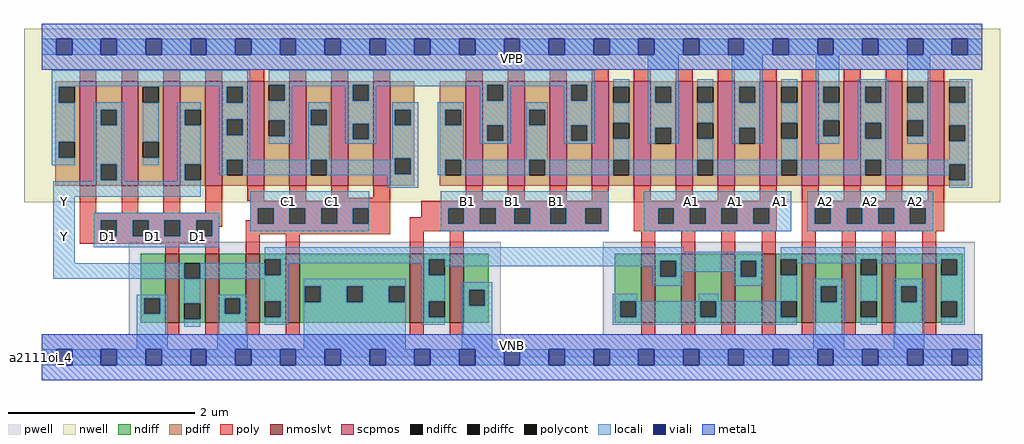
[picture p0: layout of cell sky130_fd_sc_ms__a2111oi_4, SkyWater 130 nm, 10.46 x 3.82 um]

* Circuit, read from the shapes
.subckt sky130_fd_sc_ms__a2111oi_4 A1 A2 B1 C1 D1 VGND VNB VPB VPWR Y
XM1 Y D1 VGND VNB sky130_fd_pr__nfet_01v8_lvt w=0.74 l=0.15 m=2
XM2 Y C1 VGND VNB sky130_fd_pr__nfet_01v8_lvt w=0.74 l=0.15 m=2
XM3 Y B1 VGND VNB sky130_fd_pr__nfet_01v8_lvt w=0.74 l=0.15 m=2
XM4 Y A1 n1 VNB sky130_fd_pr__nfet_01v8_lvt w=0.74 l=0.15 m=4
XM5 VGND A2 n1 VNB sky130_fd_pr__nfet_01v8_lvt w=0.74 l=0.15 m=4
XM6 Y D1 n2 VPB sky130_fd_pr__pfet_01v8 w=1.12 l=0.18 m=4
XM7 n3 C1 n2 VPB sky130_fd_pr__pfet_01v8 w=1.12 l=0.18 m=4
XM8 n3 B1 n4 VPB sky130_fd_pr__pfet_01v8 w=1.12 l=0.18 m=4
XM9 VPWR A1 n4 VPB sky130_fd_pr__pfet_01v8 w=1.12 l=0.18 m=4
XM10 VPWR A2 n4 VPB sky130_fd_pr__pfet_01v8 w=1.12 l=0.18 m=4
.ends

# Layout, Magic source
magic
tech sky130A
magscale 1 2
<< nwell >>
rect -38 332 2054 704
<< pwell >>
rect 186 49 984 248
rect 1202 49 2000 248
rect 0 0 2016 49
<< scpmos >>
rect 81 368 117 592
rect 171 368 207 592
rect 261 368 297 592
rect 351 368 387 592
rect 441 368 477 592
rect 531 368 567 592
rect 621 368 657 592
rect 711 368 747 592
rect 909 368 945 592
rect 999 368 1035 592
rect 1089 368 1125 592
rect 1179 368 1215 592
rect 1269 368 1305 592
rect 1359 368 1395 592
rect 1449 368 1485 592
rect 1539 368 1575 592
rect 1629 368 1665 592
rect 1719 368 1755 592
rect 1809 368 1845 592
rect 1899 368 1935 592
<< nmoslvt >>
rect 265 74 295 222
rect 351 74 381 222
rect 437 74 467 222
rect 523 74 553 222
rect 789 74 819 222
rect 875 74 905 222
rect 1285 74 1315 222
rect 1371 74 1401 222
rect 1457 74 1487 222
rect 1543 74 1573 222
rect 1629 74 1659 222
rect 1715 74 1745 222
rect 1801 74 1831 222
rect 1887 74 1917 222
<< ndiff >>
rect 212 127 265 222
rect 212 93 220 127
rect 254 93 265 127
rect 212 74 265 93
rect 295 202 351 222
rect 295 168 306 202
rect 340 168 351 202
rect 295 116 351 168
rect 295 82 306 116
rect 340 82 351 116
rect 295 74 351 82
rect 381 127 437 222
rect 381 93 392 127
rect 426 93 437 127
rect 381 74 437 93
rect 467 210 523 222
rect 467 176 478 210
rect 512 176 523 210
rect 467 120 523 176
rect 467 86 478 120
rect 512 86 523 120
rect 467 74 523 86
rect 553 152 789 222
rect 553 118 564 152
rect 598 118 654 152
rect 688 118 744 152
rect 778 118 789 152
rect 553 74 789 118
rect 819 210 875 222
rect 819 176 830 210
rect 864 176 875 210
rect 819 120 875 176
rect 819 86 830 120
rect 864 86 875 120
rect 819 74 875 86
rect 905 145 958 222
rect 905 111 916 145
rect 950 111 958 145
rect 905 74 958 111
rect 1228 120 1285 222
rect 1228 86 1240 120
rect 1274 86 1285 120
rect 1228 74 1285 86
rect 1315 207 1371 222
rect 1315 173 1326 207
rect 1360 173 1371 207
rect 1315 74 1371 173
rect 1401 120 1457 222
rect 1401 86 1412 120
rect 1446 86 1457 120
rect 1401 74 1457 86
rect 1487 207 1543 222
rect 1487 173 1498 207
rect 1532 173 1543 207
rect 1487 74 1543 173
rect 1573 210 1629 222
rect 1573 176 1584 210
rect 1618 176 1629 210
rect 1573 120 1629 176
rect 1573 86 1584 120
rect 1618 86 1629 120
rect 1573 74 1629 86
rect 1659 152 1715 222
rect 1659 118 1670 152
rect 1704 118 1715 152
rect 1659 74 1715 118
rect 1745 210 1801 222
rect 1745 176 1756 210
rect 1790 176 1801 210
rect 1745 120 1801 176
rect 1745 86 1756 120
rect 1790 86 1801 120
rect 1745 74 1801 86
rect 1831 152 1887 222
rect 1831 118 1842 152
rect 1876 118 1887 152
rect 1831 74 1887 118
rect 1917 210 1974 222
rect 1917 176 1928 210
rect 1962 176 1974 210
rect 1917 120 1974 176
rect 1917 86 1928 120
rect 1962 86 1974 120
rect 1917 74 1974 86
<< pdiff >>
rect 29 580 81 592
rect 29 546 37 580
rect 71 546 81 580
rect 29 462 81 546
rect 29 428 37 462
rect 71 428 81 462
rect 29 368 81 428
rect 117 531 171 592
rect 117 497 127 531
rect 161 497 171 531
rect 117 414 171 497
rect 117 380 127 414
rect 161 380 171 414
rect 117 368 171 380
rect 207 580 261 592
rect 207 546 217 580
rect 251 546 261 580
rect 207 462 261 546
rect 207 428 217 462
rect 251 428 261 462
rect 207 368 261 428
rect 297 531 351 592
rect 297 497 307 531
rect 341 497 351 531
rect 297 414 351 497
rect 297 380 307 414
rect 341 380 351 414
rect 297 368 351 380
rect 387 580 441 592
rect 387 546 397 580
rect 431 546 441 580
rect 387 510 441 546
rect 387 476 397 510
rect 431 476 441 510
rect 387 424 441 476
rect 387 390 397 424
rect 431 390 441 424
rect 387 368 441 390
rect 477 584 531 592
rect 477 550 487 584
rect 521 550 531 584
rect 477 508 531 550
rect 477 474 487 508
rect 521 474 531 508
rect 477 368 531 474
rect 567 531 621 592
rect 567 497 577 531
rect 611 497 621 531
rect 567 424 621 497
rect 567 390 577 424
rect 611 390 621 424
rect 567 368 621 390
rect 657 584 711 592
rect 657 550 667 584
rect 701 550 711 584
rect 657 501 711 550
rect 657 467 667 501
rect 701 467 711 501
rect 657 368 711 467
rect 747 531 799 592
rect 747 497 757 531
rect 791 497 799 531
rect 747 427 799 497
rect 747 393 757 427
rect 791 393 799 427
rect 747 368 799 393
rect 853 531 909 592
rect 853 497 865 531
rect 899 497 909 531
rect 853 424 909 497
rect 853 390 865 424
rect 899 390 909 424
rect 853 368 909 390
rect 945 584 999 592
rect 945 550 955 584
rect 989 550 999 584
rect 945 498 999 550
rect 945 464 955 498
rect 989 464 999 498
rect 945 368 999 464
rect 1035 531 1089 592
rect 1035 497 1045 531
rect 1079 497 1089 531
rect 1035 424 1089 497
rect 1035 390 1045 424
rect 1079 390 1089 424
rect 1035 368 1089 390
rect 1125 584 1179 592
rect 1125 550 1135 584
rect 1169 550 1179 584
rect 1125 498 1179 550
rect 1125 464 1135 498
rect 1169 464 1179 498
rect 1125 368 1179 464
rect 1215 580 1269 592
rect 1215 546 1225 580
rect 1259 546 1269 580
rect 1215 503 1269 546
rect 1215 469 1225 503
rect 1259 469 1269 503
rect 1215 424 1269 469
rect 1215 390 1225 424
rect 1259 390 1269 424
rect 1215 368 1269 390
rect 1305 580 1359 592
rect 1305 546 1315 580
rect 1349 546 1359 580
rect 1305 492 1359 546
rect 1305 458 1315 492
rect 1349 458 1359 492
rect 1305 368 1359 458
rect 1395 580 1449 592
rect 1395 546 1405 580
rect 1439 546 1449 580
rect 1395 503 1449 546
rect 1395 469 1405 503
rect 1439 469 1449 503
rect 1395 424 1449 469
rect 1395 390 1405 424
rect 1439 390 1449 424
rect 1395 368 1449 390
rect 1485 580 1539 592
rect 1485 546 1495 580
rect 1529 546 1539 580
rect 1485 492 1539 546
rect 1485 458 1495 492
rect 1529 458 1539 492
rect 1485 368 1539 458
rect 1575 580 1629 592
rect 1575 546 1585 580
rect 1619 546 1629 580
rect 1575 503 1629 546
rect 1575 469 1585 503
rect 1619 469 1629 503
rect 1575 424 1629 469
rect 1575 390 1585 424
rect 1619 390 1629 424
rect 1575 368 1629 390
rect 1665 580 1719 592
rect 1665 546 1675 580
rect 1709 546 1719 580
rect 1665 508 1719 546
rect 1665 474 1675 508
rect 1709 474 1719 508
rect 1665 368 1719 474
rect 1755 580 1809 592
rect 1755 546 1765 580
rect 1799 546 1809 580
rect 1755 503 1809 546
rect 1755 469 1765 503
rect 1799 469 1809 503
rect 1755 424 1809 469
rect 1755 390 1765 424
rect 1799 390 1809 424
rect 1755 368 1809 390
rect 1845 580 1899 592
rect 1845 546 1855 580
rect 1889 546 1899 580
rect 1845 508 1899 546
rect 1845 474 1855 508
rect 1889 474 1899 508
rect 1845 368 1899 474
rect 1935 580 1987 592
rect 1935 546 1945 580
rect 1979 546 1987 580
rect 1935 497 1987 546
rect 1935 463 1945 497
rect 1979 463 1987 497
rect 1935 414 1987 463
rect 1935 380 1945 414
rect 1979 380 1987 414
rect 1935 368 1987 380
<< ndiffc >>
rect 220 93 254 127
rect 306 168 340 202
rect 306 82 340 116
rect 392 93 426 127
rect 478 176 512 210
rect 478 86 512 120
rect 564 118 598 152
rect 654 118 688 152
rect 744 118 778 152
rect 830 176 864 210
rect 830 86 864 120
rect 916 111 950 145
rect 1240 86 1274 120
rect 1326 173 1360 207
rect 1412 86 1446 120
rect 1498 173 1532 207
rect 1584 176 1618 210
rect 1584 86 1618 120
rect 1670 118 1704 152
rect 1756 176 1790 210
rect 1756 86 1790 120
rect 1842 118 1876 152
rect 1928 176 1962 210
rect 1928 86 1962 120
<< pdiffc >>
rect 37 546 71 580
rect 37 428 71 462
rect 127 497 161 531
rect 127 380 161 414
rect 217 546 251 580
rect 217 428 251 462
rect 307 497 341 531
rect 307 380 341 414
rect 397 546 431 580
rect 397 476 431 510
rect 397 390 431 424
rect 487 550 521 584
rect 487 474 521 508
rect 577 497 611 531
rect 577 390 611 424
rect 667 550 701 584
rect 667 467 701 501
rect 757 497 791 531
rect 757 393 791 427
rect 865 497 899 531
rect 865 390 899 424
rect 955 550 989 584
rect 955 464 989 498
rect 1045 497 1079 531
rect 1045 390 1079 424
rect 1135 550 1169 584
rect 1135 464 1169 498
rect 1225 546 1259 580
rect 1225 469 1259 503
rect 1225 390 1259 424
rect 1315 546 1349 580
rect 1315 458 1349 492
rect 1405 546 1439 580
rect 1405 469 1439 503
rect 1405 390 1439 424
rect 1495 546 1529 580
rect 1495 458 1529 492
rect 1585 546 1619 580
rect 1585 469 1619 503
rect 1585 390 1619 424
rect 1675 546 1709 580
rect 1675 474 1709 508
rect 1765 546 1799 580
rect 1765 469 1799 503
rect 1765 390 1799 424
rect 1855 546 1889 580
rect 1855 474 1889 508
rect 1945 546 1979 580
rect 1945 463 1979 497
rect 1945 380 1979 414
<< poly >>
rect 81 592 117 618
rect 171 592 207 618
rect 261 592 297 618
rect 351 592 387 618
rect 441 592 477 618
rect 531 592 567 618
rect 621 592 657 618
rect 711 592 747 618
rect 909 592 945 618
rect 999 592 1035 618
rect 1089 592 1125 618
rect 1179 592 1215 618
rect 1269 592 1305 618
rect 1359 592 1395 618
rect 1449 592 1485 618
rect 1539 592 1575 618
rect 1629 592 1665 618
rect 1719 592 1755 618
rect 1809 592 1845 618
rect 1899 592 1935 618
rect 81 310 117 368
rect 171 310 207 368
rect 261 310 297 368
rect 351 310 387 368
rect 441 336 477 368
rect 531 336 567 368
rect 621 342 657 368
rect 711 342 747 368
rect 621 336 747 342
rect 909 336 945 368
rect 999 336 1035 368
rect 1089 336 1125 368
rect 1179 336 1215 368
rect 81 294 387 310
rect 447 320 747 336
rect 447 294 463 320
rect 81 260 127 294
rect 161 260 195 294
rect 229 260 263 294
rect 297 260 331 294
rect 365 280 387 294
rect 437 286 463 294
rect 497 286 531 320
rect 565 286 599 320
rect 633 286 667 320
rect 701 286 747 320
rect 814 320 1215 336
rect 814 300 871 320
rect 365 260 381 280
rect 81 244 381 260
rect 265 222 295 244
rect 351 222 381 244
rect 437 264 747 286
rect 789 286 871 300
rect 905 286 939 320
rect 973 286 1013 320
rect 1047 286 1090 320
rect 1124 286 1165 320
rect 1199 286 1215 320
rect 789 270 1215 286
rect 1269 336 1305 368
rect 1359 336 1395 368
rect 1449 336 1485 368
rect 1539 336 1575 368
rect 1269 320 1575 336
rect 1269 286 1321 320
rect 1355 286 1389 320
rect 1423 286 1457 320
rect 1491 286 1525 320
rect 1559 286 1575 320
rect 1269 270 1575 286
rect 1629 336 1665 368
rect 1719 336 1755 368
rect 1809 336 1845 368
rect 1899 336 1935 368
rect 1629 320 1935 336
rect 1629 286 1657 320
rect 1691 286 1725 320
rect 1759 286 1793 320
rect 1827 286 1861 320
rect 1895 286 1935 320
rect 1629 270 1935 286
rect 437 222 467 264
rect 523 222 553 264
rect 789 222 819 270
rect 875 222 905 270
rect 1285 222 1315 270
rect 1371 222 1401 270
rect 1457 222 1487 270
rect 1543 222 1573 270
rect 1629 222 1659 270
rect 1715 222 1745 270
rect 1801 222 1831 270
rect 1887 222 1917 270
rect 265 48 295 74
rect 351 48 381 74
rect 437 48 467 74
rect 523 48 553 74
rect 789 48 819 74
rect 875 48 905 74
rect 1285 48 1315 74
rect 1371 48 1401 74
rect 1457 48 1487 74
rect 1543 48 1573 74
rect 1629 48 1659 74
rect 1715 48 1745 74
rect 1801 48 1831 74
rect 1887 48 1917 74
<< polycont >>
rect 127 260 161 294
rect 195 260 229 294
rect 263 260 297 294
rect 331 260 365 294
rect 463 286 497 320
rect 531 286 565 320
rect 599 286 633 320
rect 667 286 701 320
rect 871 286 905 320
rect 939 286 973 320
rect 1013 286 1047 320
rect 1090 286 1124 320
rect 1165 286 1199 320
rect 1321 286 1355 320
rect 1389 286 1423 320
rect 1457 286 1491 320
rect 1525 286 1559 320
rect 1657 286 1691 320
rect 1725 286 1759 320
rect 1793 286 1827 320
rect 1861 286 1895 320
<< locali >>
rect 0 649 31 683
rect 65 649 127 683
rect 161 649 223 683
rect 257 649 319 683
rect 353 649 415 683
rect 449 649 511 683
rect 545 649 607 683
rect 641 649 703 683
rect 737 649 799 683
rect 833 649 895 683
rect 929 649 991 683
rect 1025 649 1087 683
rect 1121 649 1183 683
rect 1217 649 1279 683
rect 1313 649 1375 683
rect 1409 649 1471 683
rect 1505 649 1567 683
rect 1601 649 1663 683
rect 1697 649 1759 683
rect 1793 649 1855 683
rect 1889 649 1951 683
rect 1985 649 2016 683
rect 21 581 447 615
rect 21 580 71 581
rect 21 546 37 580
rect 217 580 251 581
rect 21 462 71 546
rect 21 428 37 462
rect 21 412 71 428
rect 111 531 177 547
rect 111 497 127 531
rect 161 497 177 531
rect 111 414 177 497
rect 111 380 127 414
rect 161 380 177 414
rect 381 580 447 581
rect 217 462 251 546
rect 217 412 251 428
rect 291 531 341 547
rect 291 497 307 531
rect 291 414 341 497
rect 111 378 177 380
rect 291 380 307 414
rect 381 546 397 580
rect 431 546 447 580
rect 381 510 447 546
rect 381 476 397 510
rect 431 476 447 510
rect 381 424 447 476
rect 487 584 1185 615
rect 521 581 667 584
rect 521 550 537 581
rect 487 508 537 550
rect 651 550 667 581
rect 701 581 955 584
rect 701 550 717 581
rect 521 474 537 508
rect 487 458 537 474
rect 571 531 617 547
rect 571 497 577 531
rect 611 497 617 531
rect 571 424 617 497
rect 651 501 717 550
rect 939 550 955 581
rect 989 581 1135 584
rect 989 550 1005 581
rect 651 467 667 501
rect 701 467 717 501
rect 651 458 717 467
rect 751 531 807 547
rect 751 497 757 531
rect 791 497 807 531
rect 751 427 807 497
rect 751 424 757 427
rect 381 390 397 424
rect 431 390 577 424
rect 611 393 757 424
rect 791 393 807 427
rect 611 390 807 393
rect 849 531 905 547
rect 849 497 865 531
rect 899 497 905 531
rect 849 424 905 497
rect 939 498 1005 550
rect 1119 550 1135 581
rect 1169 550 1185 584
rect 939 464 955 498
rect 989 464 1005 498
rect 939 458 1005 464
rect 1039 531 1085 547
rect 1039 497 1045 531
rect 1079 497 1085 531
rect 1039 424 1085 497
rect 1119 498 1185 550
rect 1119 464 1135 498
rect 1169 464 1185 498
rect 1119 458 1185 464
rect 1225 580 1259 596
rect 1225 503 1259 546
rect 1225 424 1259 469
rect 1299 580 1365 649
rect 1299 546 1315 580
rect 1349 546 1365 580
rect 1299 492 1365 546
rect 1299 458 1315 492
rect 1349 458 1365 492
rect 1405 580 1439 596
rect 1405 503 1439 546
rect 1405 424 1439 469
rect 1479 580 1545 649
rect 1479 546 1495 580
rect 1529 546 1545 580
rect 1479 492 1545 546
rect 1479 458 1495 492
rect 1529 458 1545 492
rect 1585 580 1619 596
rect 1585 503 1619 546
rect 1585 424 1619 469
rect 1659 580 1709 649
rect 1659 546 1675 580
rect 1659 508 1709 546
rect 1659 474 1675 508
rect 1659 458 1709 474
rect 1749 580 1815 596
rect 1749 546 1765 580
rect 1799 546 1815 580
rect 1749 503 1815 546
rect 1749 469 1765 503
rect 1799 469 1815 503
rect 1749 424 1815 469
rect 1855 580 1905 649
rect 1889 546 1905 580
rect 1855 508 1905 546
rect 1889 474 1905 508
rect 1855 458 1905 474
rect 1945 580 1995 596
rect 1979 546 1995 580
rect 1945 497 1995 546
rect 1979 463 1995 497
rect 1945 424 1995 463
rect 849 390 865 424
rect 899 390 1045 424
rect 1079 390 1225 424
rect 1259 390 1405 424
rect 1439 390 1585 424
rect 1619 390 1765 424
rect 1799 414 1995 424
rect 1799 390 1945 414
rect 291 378 341 380
rect 25 344 341 378
rect 741 364 807 390
rect 1979 380 1995 414
rect 1945 364 1995 380
rect 25 202 71 344
rect 447 320 702 356
rect 111 294 381 310
rect 111 260 127 294
rect 161 260 195 294
rect 229 260 263 294
rect 297 260 331 294
rect 365 260 381 294
rect 447 286 463 320
rect 497 286 531 320
rect 565 286 599 320
rect 633 286 667 320
rect 701 286 702 320
rect 447 270 702 286
rect 855 320 1215 356
rect 855 286 871 320
rect 905 286 939 320
rect 973 286 1013 320
rect 1047 286 1090 320
rect 1124 286 1165 320
rect 1199 286 1215 320
rect 855 270 1215 286
rect 1290 320 1607 356
rect 1290 286 1321 320
rect 1355 286 1389 320
rect 1423 286 1457 320
rect 1491 286 1525 320
rect 1559 286 1607 320
rect 1290 270 1607 286
rect 1641 320 1911 356
rect 1641 286 1657 320
rect 1691 286 1725 320
rect 1759 286 1793 320
rect 1827 286 1861 320
rect 1895 286 1911 320
rect 1641 270 1911 286
rect 111 236 381 260
rect 478 226 1376 236
rect 478 210 1548 226
rect 25 168 306 202
rect 340 176 478 202
rect 512 202 830 210
rect 512 176 528 202
rect 340 168 528 176
rect 814 176 830 202
rect 864 207 1548 210
rect 864 195 1326 207
rect 204 127 270 134
rect 204 93 220 127
rect 254 93 270 127
rect 204 17 270 93
rect 306 116 340 168
rect 306 66 340 82
rect 376 127 442 134
rect 376 93 392 127
rect 426 93 442 127
rect 376 17 442 93
rect 478 120 528 168
rect 512 86 528 120
rect 478 70 528 86
rect 562 152 780 168
rect 562 118 564 152
rect 598 118 654 152
rect 688 118 744 152
rect 778 118 780 152
rect 562 17 780 118
rect 814 120 864 176
rect 1310 173 1326 195
rect 1360 183 1498 207
rect 1360 173 1376 183
rect 814 86 830 120
rect 814 70 864 86
rect 900 145 966 161
rect 1310 154 1376 173
rect 1482 173 1498 183
rect 1532 173 1548 207
rect 1482 154 1548 173
rect 1584 210 1978 236
rect 1618 202 1756 210
rect 900 111 916 145
rect 950 111 966 145
rect 900 17 966 111
rect 1224 120 1276 136
rect 1408 120 1450 136
rect 1584 120 1618 176
rect 1790 202 1928 210
rect 1224 86 1240 120
rect 1274 86 1412 120
rect 1446 86 1584 120
rect 1224 70 1618 86
rect 1654 152 1720 168
rect 1654 118 1670 152
rect 1704 118 1720 152
rect 1654 17 1720 118
rect 1756 120 1790 176
rect 1962 176 1978 210
rect 1756 70 1790 86
rect 1826 152 1892 168
rect 1826 118 1842 152
rect 1876 118 1892 152
rect 1826 17 1892 118
rect 1928 120 1978 176
rect 1962 86 1978 120
rect 1928 70 1978 86
rect 0 -17 31 17
rect 65 -17 127 17
rect 161 -17 223 17
rect 257 -17 319 17
rect 353 -17 415 17
rect 449 -17 511 17
rect 545 -17 607 17
rect 641 -17 703 17
rect 737 -17 799 17
rect 833 -17 895 17
rect 929 -17 991 17
rect 1025 -17 1087 17
rect 1121 -17 1183 17
rect 1217 -17 1279 17
rect 1313 -17 1375 17
rect 1409 -17 1471 17
rect 1505 -17 1567 17
rect 1601 -17 1663 17
rect 1697 -17 1759 17
rect 1793 -17 1855 17
rect 1889 -17 1951 17
rect 1985 -17 2016 17
<< viali >>
rect 31 649 65 683
rect 127 649 161 683
rect 223 649 257 683
rect 319 649 353 683
rect 415 649 449 683
rect 511 649 545 683
rect 607 649 641 683
rect 703 649 737 683
rect 799 649 833 683
rect 895 649 929 683
rect 991 649 1025 683
rect 1087 649 1121 683
rect 1183 649 1217 683
rect 1279 649 1313 683
rect 1375 649 1409 683
rect 1471 649 1505 683
rect 1567 649 1601 683
rect 1663 649 1697 683
rect 1759 649 1793 683
rect 1855 649 1889 683
rect 1951 649 1985 683
rect 31 -17 65 17
rect 127 -17 161 17
rect 223 -17 257 17
rect 319 -17 353 17
rect 415 -17 449 17
rect 511 -17 545 17
rect 607 -17 641 17
rect 703 -17 737 17
rect 799 -17 833 17
rect 895 -17 929 17
rect 991 -17 1025 17
rect 1087 -17 1121 17
rect 1183 -17 1217 17
rect 1279 -17 1313 17
rect 1375 -17 1409 17
rect 1471 -17 1505 17
rect 1567 -17 1601 17
rect 1663 -17 1697 17
rect 1759 -17 1793 17
rect 1855 -17 1889 17
rect 1951 -17 1985 17
<< metal1 >>
rect 0 683 2016 715
rect 0 649 31 683
rect 65 649 127 683
rect 161 649 223 683
rect 257 649 319 683
rect 353 649 415 683
rect 449 649 511 683
rect 545 649 607 683
rect 641 649 703 683
rect 737 649 799 683
rect 833 649 895 683
rect 929 649 991 683
rect 1025 649 1087 683
rect 1121 649 1183 683
rect 1217 649 1279 683
rect 1313 649 1375 683
rect 1409 649 1471 683
rect 1505 649 1567 683
rect 1601 649 1663 683
rect 1697 649 1759 683
rect 1793 649 1855 683
rect 1889 649 1951 683
rect 1985 649 2016 683
rect 0 617 2016 649
rect 0 17 2016 49
rect 0 -17 31 17
rect 65 -17 127 17
rect 161 -17 223 17
rect 257 -17 319 17
rect 353 -17 415 17
rect 449 -17 511 17
rect 545 -17 607 17
rect 641 -17 703 17
rect 737 -17 799 17
rect 833 -17 895 17
rect 929 -17 991 17
rect 1025 -17 1087 17
rect 1121 -17 1183 17
rect 1217 -17 1279 17
rect 1313 -17 1375 17
rect 1409 -17 1471 17
rect 1505 -17 1567 17
rect 1601 -17 1663 17
rect 1697 -17 1759 17
rect 1793 -17 1855 17
rect 1889 -17 1951 17
rect 1985 -17 2016 17
rect 0 -49 2016 -17
<< labels >>
flabel pwell s 0 0 2016 49 0 FreeSans 200 0 0 0 VNB
port 7 nsew ground bidirectional
flabel nwell s 0 617 2016 666 0 FreeSans 200 0 0 0 VPB
port 8 nsew power bidirectional
rlabel comment s 0 0 0 0 4 a2111oi_4
flabel metal1 s 0 617 2016 666 0 FreeSans 340 0 0 0 VPWR
port 9 nsew power bidirectional
flabel metal1 s 0 0 2016 49 0 FreeSans 340 0 0 0 VGND
port 6 nsew ground bidirectional
flabel locali s 31 242 65 276 0 FreeSans 340 0 0 0 Y
port 10 nsew signal output
flabel locali s 31 316 65 350 0 FreeSans 340 0 0 0 Y
port 10 nsew signal output
flabel locali s 127 242 161 276 0 FreeSans 340 0 0 0 D1
port 5 nsew signal input
flabel locali s 223 242 257 276 0 FreeSans 340 0 0 0 D1
port 5 nsew signal input
flabel locali s 319 242 353 276 0 FreeSans 340 0 0 0 D1
port 5 nsew signal input
flabel locali s 511 316 545 350 0 FreeSans 340 0 0 0 C1
port 4 nsew signal input
flabel locali s 607 316 641 350 0 FreeSans 340 0 0 0 C1
port 4 nsew signal input
flabel locali s 895 316 929 350 0 FreeSans 340 0 0 0 B1
port 3 nsew signal input
flabel locali s 991 316 1025 350 0 FreeSans 340 0 0 0 B1
port 3 nsew signal input
flabel locali s 1087 316 1121 350 0 FreeSans 340 0 0 0 B1
port 3 nsew signal input
flabel locali s 1663 316 1697 350 0 FreeSans 340 0 0 0 A2
port 2 nsew signal input
flabel locali s 1759 316 1793 350 0 FreeSans 340 0 0 0 A2
port 2 nsew signal input
flabel locali s 1855 316 1889 350 0 FreeSans 340 0 0 0 A2
port 2 nsew signal input
flabel locali s 1375 316 1409 350 0 FreeSans 340 0 0 0 A1
port 1 nsew signal input
flabel locali s 1471 316 1505 350 0 FreeSans 340 0 0 0 A1
port 1 nsew signal input
flabel locali s 1567 316 1601 350 0 FreeSans 340 0 0 0 A1
port 1 nsew signal input
<< properties >>
string LEFsite unit
string LEFclass CORE
string FIXED_BBOX 0 0 2016 666
string GDS_FILE $PDKPATH/libs.ref/sky130_fd_sc_ms/gds/sky130_fd_sc_ms.gds
string LEFsymmetry X Y
string GDS_END 2837006
string GDS_START 2821518
<< end >>
